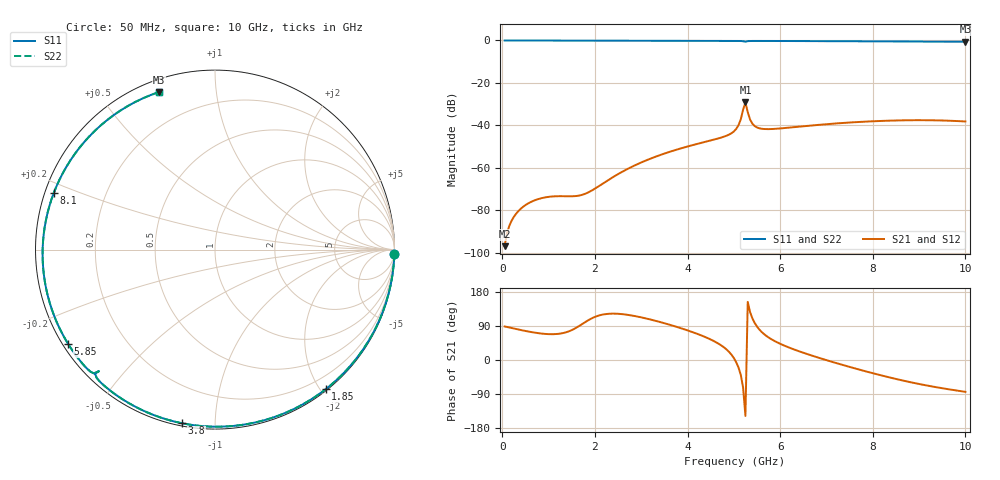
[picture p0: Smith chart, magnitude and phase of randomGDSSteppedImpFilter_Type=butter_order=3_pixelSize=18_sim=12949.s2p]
! freq	dB(S11)	phase(S11)	dB(S12)	phase(S12)
!  dB(S21)	phase(S21)	dB(S22)	phase(S22)
!S-par simulation data
#  GHz  S  DB  R 50
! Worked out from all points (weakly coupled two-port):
!   200 points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, 50 MHz to 10 GHz, reference 50 ohm
!   highest |S21| = -29.22 dB at 5.25 GHz (marker M1); lowest = -96.9 dB at 50 MHz (marker M2)
!   lowest |S11| = -0.6 dB at 10 GHz (marker M3), VSWR 28.27, Z = 2.64 + j35.2 ohm
!   |S11| at or under -10 dB: nowhere
!   |S22| runs from -0.6 to 0.0 dB; largest |S21 - S12| = 0
!   S11 on the Smith chart (normalised r, x): 50 MHz: 0, -79; 1.85 GHz: 0.02, -2.07; 3.8 GHz: 0.01, -0.83; 5.85 GHz: 0.02, -0.29; 8.1 GHz: 0.03, +0.17; 10 GHz: 0.05, +0.70
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0.05  -0.00 -1.4  -96.91 88.6  -96.91 88.6  -0.00 -1.4
0.35  -0.01 -10.0  -80.32 80.4  -80.32 80.4  -0.01 -10.0
0.6  -0.02 -17.1  -76.28 74.3  -76.28 74.3  -0.02 -17.1
0.9  -0.03 -25.5  -74.03 69.1  -74.03 69.1  -0.03 -25.5
1.75  -0.06 -48.9  -72.55 96.9  -72.55 96.9  -0.06 -48.9
1.85  -0.06 -51.6  -71.65 104.5  -71.65 104.5  -0.06 -51.6
2.7  -0.09 -73.8  -60.58 119.3  -60.58 119.3  -0.09 -73.8
3.4  -0.12 -91.2  -54.05 100.5  -54.05 100.5  -0.12 -91.2
3.8  -0.13 -100.8  -51.21 86.1  -51.21 86.1  -0.13 -100.8
4.8  -0.18 -124.1  -45.23 32.1  -45.23 32.1  -0.18 -124.2
5.05  -0.20 -130.1  -41.71 -5.7  -41.71 -5.7  -0.20 -130.1
5.15  -0.24 -132.7  -37.18 -39.3  -37.18 -39.3  -0.24 -132.7
5.25  -0.57 -133.7  -29.22 -147.7  -29.22 -147.7  -0.57 -133.7
5.35  -0.25 -135.6  -37.22 126.8  -37.22 126.8  -0.25 -135.6
5.45  -0.23 -138.1  -40.32 97.8  -40.32 97.8  -0.23 -138.2
5.85  -0.24 -147.4  -41.69 52.0  -41.69 52.0  -0.24 -147.4
6.7  -0.30 -166.5  -40.01 11.0  -40.01 11.0  -0.30 -166.5
7.4  -0.36 177.5  -38.80 -14.8  -38.80 -14.8  -0.36 177.4
8.1  -0.43 160.7  -37.98 -38.0  -37.98 -38.0  -0.43 160.7
8.35  -0.45 154.6  -37.79 -45.7  -37.79 -45.7  -0.45 154.5
9.15  -0.53 133.8  -37.57 -66.9  -37.57 -66.9  -0.53 133.7
10  -0.61 109.7  -38.17 -84.0  -38.17 -84.0  -0.61 109.6
